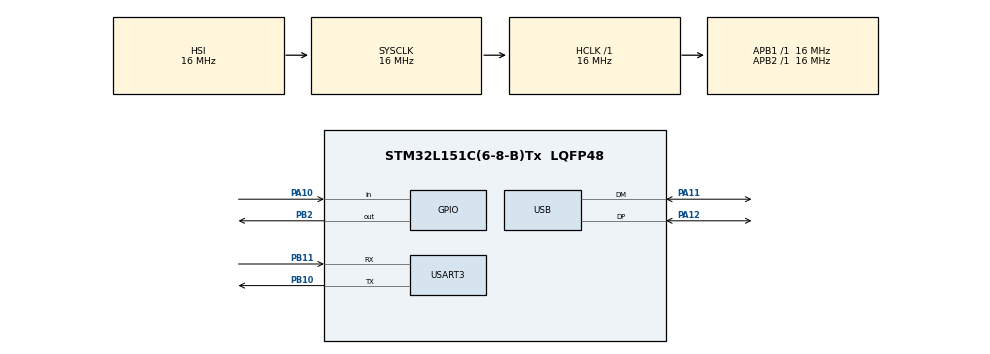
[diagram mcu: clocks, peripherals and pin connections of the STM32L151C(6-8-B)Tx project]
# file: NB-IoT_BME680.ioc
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Mcu.Family=STM32L1
Mcu.Name=STM32L151C(6-8-B)Tx
Mcu.Package=LQFP48
NVIC.PriorityGroup=NVIC_PRIORITYGROUP_4
NVIC.USART3_IRQn=true\:0\:0\:true\:false\:true\:true\:true\:true
NVIC.USB_LP_IRQn=true\:1\:0\:true\:false\:true\:false\:true\:true
PA10.Signal=GPIO_Input
PA11.Mode=Device
PA11.Signal=USB_DM
PA12.Mode=Device
PA12.Signal=USB_DP
PA13.Mode=Serial_Wire
PA13.Signal=SYS_JTMS-SWDIO
PA14.Mode=Serial_Wire
PA14.Signal=SYS_JTCK-SWCLK
PB10.Mode=Asynchronous
PB10.Signal=USART3_TX
PB11.Mode=Asynchronous
PB11.Signal=USART3_RX
PB2.Signal=GPIO_Output
PH0-OSC_IN.Mode=HSE-External-Oscillator
PH0-OSC_IN.Signal=RCC_OSC_IN
PH1-OSC_OUT.Mode=HSE-External-Oscillator
PH1-OSC_OUT.Signal=RCC_OSC_OUT
ProjectManager.HeapSize=0x200
ProjectManager.StackSize=0x400
ProjectManager.TargetToolchain=MDK-ARM V5
RCC.48MHZClocksFreq_Value=48000000
RCC.AHBFreq_Value=16000000
RCC.APB1Freq_Value=16000000
RCC.APB1TimFreq_Value=16000000
RCC.APB2Freq_Value=16000000
RCC.APB2TimFreq_Value=16000000
RCC.HCLKFreq_Value=16000000
RCC.HSE_VALUE=24000000
RCC.HSI_VALUE=16000000
RCC.LSE_VALUE=32768
RCC.MSI_VALUE=2097000
RCC.PLLMUL=RCC_PLL_MUL4
RCC.SYSCLKFreq_VALUE=16000000
RCC.SYSCLKSource=RCC_SYSCLKSOURCE_HSI
RCC.VCOOutputFreq_Value=96000000
RTC.WakeUpCounter-WakeUp=0
USART3.VirtualMode=VM_ASYNC
USB_DEVICE.CLASS_NAME_FS=CDC
USB_DEVICE.VirtualMode=Cdc
USB_DEVICE.VirtualModeFS=Cdc_FS
VP_RTC_VS_RTC_Activate.Mode=RTC_Enabled
VP_RTC_VS_RTC_WakeUp_intern.Mode=WakeUp
VP_USB_DEVICE_VS_USB_DEVICE_CDC_FS.Mode=CDC_FS
board=custom

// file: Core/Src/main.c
/* USER CODE BEGIN Header */
/**
  ******************************************************************************
  * @file           : main.c
  * @brief          : Main program body
  ******************************************************************************
  * @attention
  *
  * Copyright (c) 2023 STMicroelectronics.
  * All rights reserved.
  *
  * This software is licensed under terms that can be found in the LICENSE file
  * in the root directory of this software component.
  * If no LICENSE file comes with this software, it is provided AS-IS.
  *
  ******************************************************************************
  */
/* USER CODE END Header */
#include "main.h"
#include "usb_device.h"

/* USER CODE BEGIN Includes */
#include <stdbool.h>
#include "usbd_cdc_if.h"

uint8_t RxData;
char RxBuff[500];
uint8_t TxBuff[5] = "AT\r\n";
char ATcommand[80] = "";
uint8_t _rxIndex;
uint8_t Tx_Flag = 1;
bool sim_check = 0;
const uint32_t timeOut = 5000;
/* USER CODE END Includes */

RTC_HandleTypeDef hrtc;

UART_HandleTypeDef huart3;

void SystemClock_Config(void);
static void MX_GPIO_Init(void);
static void MX_USART3_UART_Init(void);
static void MX_RTC_Init(void);
/* USER CODE BEGIN PFP */
bool SIM_Transmit(char *cmd, char *respond)
{
	bool ATisOK = false;
	uint32_t previousTick = HAL_GetTick();
	while(!ATisOK && previousTick  + timeOut >  HAL_GetTick())
	{
		memset(RxBuff,NULL,sizeof(RxBuff));
		HAL_UART_Transmit(&huart3, (uint8_t *)cmd,strlen(cmd),1000);
		HAL_UART_Receive(&huart3,(uint8_t *) RxBuff,sizeof(RxBuff),1000);
		if(strstr(RxBuff,respond)!= NULL)
		{
			ATisOK = true;
			CDC_Transmit_FS((uint8_t *) RxBuff,strlen(RxBuff));
		}else
			HAL_Delay(1000);
	}
	return ATisOK;
}

void Turn_SIM_On()
{
	HAL_GPIO_WritePin(GPIOB,GPIO_PIN_2,1);
	HAL_Delay(800);
	HAL_GPIO_WritePin(GPIOB,GPIO_PIN_2,0);
}

/* USER CODE END PFP */

int main(void)
{

  /* MCU Configuration--------------------------------------------------------*/

  /* Reset of all peripherals, Initializes the Flash interface and the Systick. */
  HAL_Init();

  /* Configure the system clock */
  SystemClock_Config();

  /* Initialize all configured peripherals */
  MX_GPIO_Init();
  MX_USB_DEVICE_Init();
  MX_USART3_UART_Init();
  MX_RTC_Init();
  /* USER CODE BEGIN 2 */
	if(!SIM_Transmit("AT\r\n","OK"))
	{
		Turn_SIM_On();
	}
	SIM_Transmit("AT+CGREG?\r\n","OK");
	SIM_Transmit("AT+CPSMS=1,,,\"00111000\",\"00000001\"\r\n", "ENTER PSM");
	SIM_Transmit("AT+CGCONTRDP\r\n","OK");

//	HAL_RTCEx_DeactivateWakeUpTimer(&hrtc);
//  __HAL_RTC_WAKEUPTIMER_CLEAR_FLAG(&hrtc, RTC_FLAG_WUTF);
//  __HAL_RTC_WAKEUPTIMER_EXTI_CLEAR_FLAG();
//	HAL_RTCEx_SetWakeUpTimer_IT(&hrtc, 0x500B, RTC_WAKEUPCLOCK_RTCCLK_DIV16);
//	HAL_UART_Receive_IT(&huart3,&RxData,1);
  /* USER CODE END 2 */

  /* Infinite loop */
  while (1)
  {

  }
}

void SystemClock_Config(void)
{
  RCC_OscInitTypeDef RCC_OscInitStruct = {0};
  RCC_ClkInitTypeDef RCC_ClkInitStruct = {0};
  RCC_PeriphCLKInitTypeDef PeriphClkInit = {0};

  /** Configure the main internal regulator output voltage
  */
  __HAL_PWR_VOLTAGESCALING_CONFIG(PWR_REGULATOR_VOLTAGE_SCALE1);

  /** Initializes the RCC Oscillators according to the specified parameters
  * in the RCC_OscInitTypeDef structure.
  */
  RCC_OscInitStruct.OscillatorType = RCC_OSCILLATORTYPE_HSI|RCC_OSCILLATORTYPE_LSI
                              |RCC_OSCILLATORTYPE_HSE;
  RCC_OscInitStruct.HSEState = RCC_HSE_ON;
  RCC_OscInitStruct.HSIState = RCC_HSI_ON;
  RCC_OscInitStruct.HSICalibrationValue = RCC_HSICALIBRATION_DEFAULT;
  RCC_OscInitStruct.LSIState = RCC_LSI_ON;
  RCC_OscInitStruct.PLL.PLLState = RCC_PLL_ON;
  RCC_OscInitStruct.PLL.PLLSource = RCC_PLLSOURCE_HSE;
  RCC_OscInitStruct.PLL.PLLMUL = RCC_PLL_MUL4;
  RCC_OscInitStruct.PLL.PLLDIV = RCC_PLL_DIV2;
  if (HAL_RCC_OscConfig(&RCC_OscInitStruct) != HAL_OK)
  {
    Error_Handler();
  }

  /** Initializes the CPU, AHB and APB buses clocks
  */
  RCC_ClkInitStruct.ClockType = RCC_CLOCKTYPE_HCLK|RCC_CLOCKTYPE_SYSCLK
                              |RCC_CLOCKTYPE_PCLK1|RCC_CLOCKTYPE_PCLK2;
  RCC_ClkInitStruct.SYSCLKSource = RCC_SYSCLKSOURCE_HSI;
  RCC_ClkInitStruct.AHBCLKDivider = RCC_SYSCLK_DIV1;
  RCC_ClkInitStruct.APB1CLKDivider = RCC_HCLK_DIV1;
  RCC_ClkInitStruct.APB2CLKDivider = RCC_HCLK_DIV1;

  if (HAL_RCC_ClockConfig(&RCC_ClkInitStruct, FLASH_LATENCY_0) != HAL_OK)
  {
    Error_Handler();
  }
  PeriphClkInit.PeriphClockSelection = RCC_PERIPHCLK_RTC;
  PeriphClkInit.RTCClockSelection = RCC_RTCCLKSOURCE_LSI;
  if (HAL_RCCEx_PeriphCLKConfig(&PeriphClkInit) != HAL_OK)
  {
    Error_Handler();
  }
}

static void MX_RTC_Init(void)
{

  RTC_TimeTypeDef sTime = {0};
  RTC_DateTypeDef sDate = {0};

  /** Initialize RTC Only
  */
  hrtc.Instance = RTC;
  hrtc.Init.HourFormat = RTC_HOURFORMAT_24;
  hrtc.Init.AsynchPrediv = 127;
  hrtc.Init.SynchPrediv = 255;
  hrtc.Init.OutPut = RTC_OUTPUT_DISABLE;
  hrtc.Init.OutPutPolarity = RTC_OUTPUT_POLARITY_HIGH;
  hrtc.Init.OutPutType = RTC_OUTPUT_TYPE_OPENDRAIN;
  if (HAL_RTC_Init(&hrtc) != HAL_OK)
  {
    Error_Handler();
  }

  /** Initialize RTC and set the Time and Date
  */
  sTime.Hours = 0x0;
  sTime.Minutes = 0x0;
  sTime.Seconds = 0x0;
  sTime.DayLightSaving = RTC_DAYLIGHTSAVING_NONE;
  sTime.StoreOperation = RTC_STOREOPERATION_RESET;
  if (HAL_RTC_SetTime(&hrtc, &sTime, RTC_FORMAT_BCD) != HAL_OK)
  {
    Error_Handler();
  }
  sDate.WeekDay = RTC_WEEKDAY_MONDAY;
  sDate.Month = RTC_MONTH_JANUARY;
  sDate.Date = 0x1;
  sDate.Year = 0x0;

  if (HAL_RTC_SetDate(&hrtc, &sDate, RTC_FORMAT_BCD) != HAL_OK)
  {
    Error_Handler();
  }

  /** Enable the WakeUp
  */
  if (HAL_RTCEx_SetWakeUpTimer(&hrtc, 0, RTC_WAKEUPCLOCK_RTCCLK_DIV16) != HAL_OK)
  {
    Error_Handler();
  }
  /* USER CODE BEGIN RTC_Init 2 */
	__HAL_RCC_RTC_ENABLE();
	__HAL_RCC_RTC_CLKPRESCALER(RCC_RTCCLKSOURCE_LSI);
	HAL_RTC_Init(&hrtc);
  /* USER CODE END RTC_Init 2 */

}

static void MX_USART3_UART_Init(void)
{

  huart3.Instance = USART3;
  huart3.Init.BaudRate = 115200;
  huart3.Init.WordLength = UART_WORDLENGTH_8B;
  huart3.Init.StopBits = UART_STOPBITS_1;
  huart3.Init.Parity = UART_PARITY_NONE;
  huart3.Init.Mode = UART_MODE_TX_RX;
  huart3.Init.HwFlowCtl = UART_HWCONTROL_NONE;
  huart3.Init.OverSampling = UART_OVERSAMPLING_16;
  if (HAL_UART_Init(&huart3) != HAL_OK)
  {
    Error_Handler();
  }

}

static void MX_GPIO_Init(void)
{
  GPIO_InitTypeDef GPIO_InitStruct = {0};

  /* GPIO Ports Clock Enable */
  __HAL_RCC_GPIOH_CLK_ENABLE();
  __HAL_RCC_GPIOB_CLK_ENABLE();
  __HAL_RCC_GPIOA_CLK_ENABLE();

  /*Configure GPIO pin Output Level */
  HAL_GPIO_WritePin(GPIOB, GPIO_PIN_2, GPIO_PIN_RESET);

  /*Configure GPIO pin : PB2 */
  GPIO_InitStruct.Pin = GPIO_PIN_2;
  GPIO_InitStruct.Mode = GPIO_MODE_OUTPUT_PP;
  GPIO_InitStruct.Pull = GPIO_NOPULL;
  GPIO_InitStruct.Speed = GPIO_SPEED_FREQ_LOW;
  HAL_GPIO_Init(GPIOB, &GPIO_InitStruct);

  /*Configure GPIO pin : PA10 */
  GPIO_InitStruct.Pin = GPIO_PIN_10;
  GPIO_InitStruct.Mode = GPIO_MODE_INPUT;
  GPIO_InitStruct.Pull = GPIO_NOPULL;
  HAL_GPIO_Init(GPIOA, &GPIO_InitStruct);

}

/* USER CODE BEGIN 4 */
void HAL_RTCEx_WakeUpTimerEventCallback(RTC_HandleTypeDef *hrtc)
{
	SystemClock_Config();
	HAL_ResumeTick();
}

//void HAL_UART_RxCpltCallback(UART_HandleTypeDef *huart)
//{
//	UNUSED(huart);
//	if(huart->Instance == USART3)
//	{
//		if(RxData != 13)
//		{
//			Tx_Flag = 0;
//			RxBuff[_rxIndex++] = RxData;
//		}
//		else if (RxData == 13)
//		{
//			Tx_Flag = 1;
//			_rxIndex = 0;
//		}
//	}
//	HAL_UART_Receive_IT(&huart3,&RxData,1);
//}
/* USER CODE END 4 */

void Error_Handler(void)
{
  __disable_irq();
  while (1)
  {
  }
}
